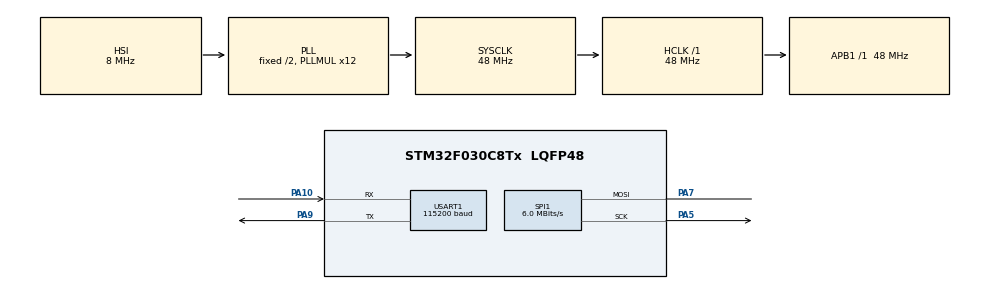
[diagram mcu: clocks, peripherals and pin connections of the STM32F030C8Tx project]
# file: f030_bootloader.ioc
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Dma.Request0=USART1_RX
Dma.USART1_RX.0.Direction=DMA_PERIPH_TO_MEMORY
Dma.USART1_RX.0.Instance=DMA1_Channel3
Dma.USART1_RX.0.MemDataAlignment=DMA_MDATAALIGN_BYTE
Dma.USART1_RX.0.MemInc=DMA_MINC_ENABLE
Dma.USART1_RX.0.Mode=DMA_CIRCULAR
Dma.USART1_RX.0.PeriphDataAlignment=DMA_PDATAALIGN_BYTE
Dma.USART1_RX.0.PeriphInc=DMA_PINC_DISABLE
Dma.USART1_RX.0.Priority=DMA_PRIORITY_VERY_HIGH
Mcu.Family=STM32F0
Mcu.Name=STM32F030C8Tx
Mcu.Package=LQFP48
NVIC.DMA1_Channel2_3_IRQn=true\:0\:0\:false\:false\:true\:false\:true\:true
PA10.Mode=Asynchronous
PA10.Signal=USART1_RX
PA5.Mode=Simplex_Bidirectional_Master
PA5.Signal=SPI1_SCK
PA7.Mode=Simplex_Bidirectional_Master
PA7.Signal=SPI1_MOSI
PA9.Mode=Asynchronous
PA9.Signal=USART1_TX
ProjectManager.HeapSize=0x200
ProjectManager.StackSize=0x400
ProjectManager.TargetToolchain=STM32CubeIDE
RCC.AHBFreq_Value=48000000
RCC.APB1Freq_Value=48000000
RCC.APB1TimFreq_Value=48000000
RCC.HCLKFreq_Value=48000000
RCC.PLLMUL=RCC_PLL_MUL12
RCC.SYSCLKFreq_VALUE=48000000
RCC.SYSCLKSource=RCC_SYSCLKSOURCE_PLLCLK
SPI1.BaudRatePrescaler=SPI_BAUDRATEPRESCALER_8
SPI1.CalculateBaudRate=6.0 MBits/s
SPI1.Direction=SPI_DIRECTION_1LINE
SPI1.Mode=SPI_MODE_MASTER
SPI1.VirtualType=VM_MASTER
USART1.BaudRate=115200
USART1.VirtualMode-Asynchronous=VM_ASYNC
board=custom

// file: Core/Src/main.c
/* USER CODE BEGIN Header */
/**
  ******************************************************************************
  * @file           : main.c
  * @brief          : Main program body
  ******************************************************************************
  * @attention
  *
  * Copyright (c) 2025 STMicroelectronics.
  * All rights reserved.
  *
  * This software is licensed under terms that can be found in the LICENSE file
  * in the root directory of this software component.
  * If no LICENSE file comes with this software, it is provided AS-IS.
  *
  ******************************************************************************
  */
/* USER CODE END Header */
#include "main.h"

/* USER CODE BEGIN Includes */
#include "bl_cm0.h"

/* USER CODE END Includes */

/* USER CODE BEGIN PD */
#define MAX_SIZE_OF_ARRAY			(uint16_t)262
#define CHUNK_FW_BYTE_SIZE			(uint16_t)256

/* USER CODE END PD */

SPI_HandleTypeDef hspi1;

UART_HandleTypeDef huart1;
DMA_HandleTypeDef hdma_usart1_rx;

/* USER CODE BEGIN PV */
uint8_t DataFrame[MAX_SIZE_OF_ARRAY] = {0};
uint8_t chunk_fw[CHUNK_FW_BYTE_SIZE] = {0};
uint8_t chunks_crc16_reasults[100] = {0};
volatile uint8_t data_ready_flag = 0;
uint8_t command = 0;
uint8_t  crc8_val = 0;
uint16_t crc16_val = 0;
char bl_ack[]  = "BL_ACK\r\n\n";
char bl_nack[] = "BL_NACK\r\n\n";
struct crc_s crc8  = {0};
struct crc_s crc16 = {0};
uint8_t num_of_chunks = 0;
uint8_t chunk_count = 0;
uint8_t chunk_crc = 0;
uint16_t B=0;
uint16_t crc_reg = 0xFFFF;			// Initial value
uint16_t poly	 = 0x1021;			// CRC16 polynom
uint32_t flash_fw_addr = FLASH_SECTOR5_ADDR;
uint8_t erase_count = 0;
uint16_t chunks_total_crc16_val = 0;
uint16_t total_crc16_from_host = 0;
uint16_t chunk_crc16_val_from_host = 0;
bl_error_s bl_error;

/* USER CODE END PV */

void SystemClock_Config(void);
static void MX_GPIO_Init(void);
static void MX_DMA_Init(void);
static void MX_USART1_UART_Init(void);
static void MX_SPI1_Init(void);

int main(void)
{

  /* MCU Configuration--------------------------------------------------------*/

  /* Reset of all peripherals, Initializes the Flash interface and the Systick. */
  HAL_Init();

  /* Configure the system clock */
  SystemClock_Config();

  /* Initialize all configured peripherals */
  MX_GPIO_Init();
  MX_DMA_Init();
  MX_USART1_UART_Init();
  MX_SPI1_Init();
  /* USER CODE BEGIN 2 */
	HAL_UART_Receive_DMA(&huart1, DataFrame, 262);

	crc8.width  	 	= 8;
	crc8.length 	 	= 3;
	crc8.init		 	= 0;
	crc8.reflect_in 	= 0;
	crc8.reflect_out	= 0;

	crc16.length 		= 259;
	crc16.width  	 	= 8;

  /* USER CODE END 2 */

  /* Infinite loop */
  while (1)
  {

    /* USER CODE BEGIN 3 */

	  if((data_ready_flag == 1) && (DataFrame[1] == BL_IND_CMD))
	  {
		  data_ready_flag = 0;
		  crc8_val = crc_calc_crc8(&crc8);

		  if(crc8_val == DataFrame[3])
		  {
			  bl_usart_printf("BL_ACK\r\nCRC8 value of command frame has matched with the calculated one...\r\n");
			  HAL_Delay(5);
			  bl_execute_cmd(crc8.cmd[2]);
		  }
		  else
		  {
			  bl_usart_printf("BL_NACK\r\nCRC8 value of command data frame has not matched with the calculated one...\r\nError code: 0x%x\r\n", COMMAND_CRC8_ERROR);
			  Error_Handler();
		  }
	  }
	  else if((data_ready_flag == 1) && (DataFrame[1] == BL_IND_DATA))
	  {
		  data_ready_flag = 0;
		  crc16_val = crc_calc_crc16(&crc16);
		  chunk_crc16_val_from_host = ((DataFrame[259] << 8) | (DataFrame[260]));

		  if(crc16_val == chunk_crc16_val_from_host)
		  {
			  erase_count++;
			  if(erase_count == 1) bl_erase_35kB_mem();
			  bl_write_mem_256_bytes(&crc16.firmware[3], flash_fw_addr);
			  bl_usart_printf("BL_ACK\r\nFirmware chunk has written to flash area...\r\n\r\n");
			  flash_fw_addr += 0x100;
			  chunks_total_crc16_val += crc16_val;
		  }
		  else
		  {
			  bl_usart_printf("BL_NACK\r\nThe chunk number which is could not written to flash is %d\r\nError code: 0x%x\r\n", chunk_count, CHUNK_CRC16_ERROR);
			  Error_Handler();
		  }
	  }
	  else if((data_ready_flag == 1) && (DataFrame[1] == BL_IND_CRC))
	  {
		  if((chunk_count == num_of_chunks) && (chunks_total_crc16_val == total_crc16_from_host))
		  {
			  data_ready_flag = 0;
			  bl_usart_printf("BL_ACK\r\nTotal firmware chunk has matched wtih calculated...\r\n");
		  }
		  else
		  {
			  bl_usart_printf("BL_NACK\r\nTotal CRC16 value doesn't match with calculated...\r\nError code: 0x%x\r\n", TOTAL_CRC16_ERROR);
			  bl_erase_35kB_mem();
			  Error_Handler();
		  }
	  }
  }
  /* USER CODE END 3 */
}

void SystemClock_Config(void)
{
  RCC_OscInitTypeDef RCC_OscInitStruct = {0};
  RCC_ClkInitTypeDef RCC_ClkInitStruct = {0};
  RCC_PeriphCLKInitTypeDef PeriphClkInit = {0};

  /** Initializes the RCC Oscillators according to the specified parameters
  * in the RCC_OscInitTypeDef structure.
  */
  RCC_OscInitStruct.OscillatorType = RCC_OSCILLATORTYPE_HSI;
  RCC_OscInitStruct.HSIState = RCC_HSI_ON;
  RCC_OscInitStruct.HSICalibrationValue = RCC_HSICALIBRATION_DEFAULT;
  RCC_OscInitStruct.PLL.PLLState = RCC_PLL_ON;
  RCC_OscInitStruct.PLL.PLLSource = RCC_PLLSOURCE_HSI;
  RCC_OscInitStruct.PLL.PLLMUL = RCC_PLL_MUL12;
  RCC_OscInitStruct.PLL.PREDIV = RCC_PREDIV_DIV1;
  if (HAL_RCC_OscConfig(&RCC_OscInitStruct) != HAL_OK)
  {
    Error_Handler();
  }

  /** Initializes the CPU, AHB and APB buses clocks
  */
  RCC_ClkInitStruct.ClockType = RCC_CLOCKTYPE_HCLK|RCC_CLOCKTYPE_SYSCLK
                              |RCC_CLOCKTYPE_PCLK1;
  RCC_ClkInitStruct.SYSCLKSource = RCC_SYSCLKSOURCE_PLLCLK;
  RCC_ClkInitStruct.AHBCLKDivider = RCC_SYSCLK_DIV1;
  RCC_ClkInitStruct.APB1CLKDivider = RCC_HCLK_DIV1;

  if (HAL_RCC_ClockConfig(&RCC_ClkInitStruct, FLASH_LATENCY_1) != HAL_OK)
  {
    Error_Handler();
  }
  PeriphClkInit.PeriphClockSelection = RCC_PERIPHCLK_USART1;
  PeriphClkInit.Usart1ClockSelection = RCC_USART1CLKSOURCE_PCLK1;
  if (HAL_RCCEx_PeriphCLKConfig(&PeriphClkInit) != HAL_OK)
  {
    Error_Handler();
  }
}

static void MX_SPI1_Init(void)
{

  /* SPI1 parameter configuration*/
  hspi1.Instance = SPI1;
  hspi1.Init.Mode = SPI_MODE_MASTER;
  hspi1.Init.Direction = SPI_DIRECTION_1LINE;
  hspi1.Init.DataSize = SPI_DATASIZE_4BIT;
  hspi1.Init.CLKPolarity = SPI_POLARITY_LOW;
  hspi1.Init.CLKPhase = SPI_PHASE_1EDGE;
  hspi1.Init.NSS = SPI_NSS_SOFT;
  hspi1.Init.BaudRatePrescaler = SPI_BAUDRATEPRESCALER_8;
  hspi1.Init.FirstBit = SPI_FIRSTBIT_MSB;
  hspi1.Init.TIMode = SPI_TIMODE_DISABLE;
  hspi1.Init.CRCCalculation = SPI_CRCCALCULATION_DISABLE;
  hspi1.Init.CRCPolynomial = 7;
  hspi1.Init.CRCLength = SPI_CRC_LENGTH_DATASIZE;
  hspi1.Init.NSSPMode = SPI_NSS_PULSE_ENABLE;
  if (HAL_SPI_Init(&hspi1) != HAL_OK)
  {
    Error_Handler();
  }

}

static void MX_USART1_UART_Init(void)
{

  huart1.Instance = USART1;
  huart1.Init.BaudRate = 115200;
  huart1.Init.WordLength = UART_WORDLENGTH_8B;
  huart1.Init.StopBits = UART_STOPBITS_1;
  huart1.Init.Parity = UART_PARITY_NONE;
  huart1.Init.Mode = UART_MODE_TX_RX;
  huart1.Init.HwFlowCtl = UART_HWCONTROL_NONE;
  huart1.Init.OverSampling = UART_OVERSAMPLING_16;
  huart1.Init.OneBitSampling = UART_ONE_BIT_SAMPLE_DISABLE;
  huart1.AdvancedInit.AdvFeatureInit = UART_ADVFEATURE_NO_INIT;
  if (HAL_UART_Init(&huart1) != HAL_OK)
  {
    Error_Handler();
  }

}

static void MX_DMA_Init(void)
{

  /* DMA controller clock enable */
  __HAL_RCC_DMA1_CLK_ENABLE();

  /* DMA interrupt init */
  /* DMA1_Channel2_3_IRQn interrupt configuration */
  HAL_NVIC_SetPriority(DMA1_Channel2_3_IRQn, 0, 0);
  HAL_NVIC_EnableIRQ(DMA1_Channel2_3_IRQn);

}

static void MX_GPIO_Init(void)
{

  /* GPIO Ports Clock Enable */
  __HAL_RCC_GPIOA_CLK_ENABLE();

}

/* USER CODE BEGIN 4 */

void HAL_UART_RxCpltCallback(UART_HandleTypeDef *huart)
{
	if((huart->Instance == USART1) )
	{
		if((DataFrame[1] == BL_IND_CMD) && (DataFrame[0] == BL_START))
		{
			data_ready_flag = 1;
			memcpy(crc8.cmd, &DataFrame[0], 5);
		}
		else if((DataFrame[1] == BL_IND_DATA) && (DataFrame[0] == BL_START))
		{
			data_ready_flag = 1;
			num_of_chunks = DataFrame[2];	// Number of chunks sent by host device
			memcpy(&crc16.firmware[0], &DataFrame[0], MAX_SIZE_OF_ARRAY);
			chunk_count++;
		}
		else if((DataFrame[1] == BL_IND_CRC) && (DataFrame[0] == BL_START))
		{
			data_ready_flag = 1;
			total_crc16_from_host = (DataFrame[2] << 8) | (DataFrame[3] & 0xFF);
		}
		else
		{
			memset((void*)&DataFrame[0], 0, 262);
		}
	}
//	HAL_UART_Receive_IT(&huart1, DataFrame, 262);
	HAL_UART_Receive_DMA(&huart1, DataFrame, 262);
}

/* USER CODE END 4 */

void Error_Handler(void)
{
  __disable_irq();
  while (1)
  {
  }
}
